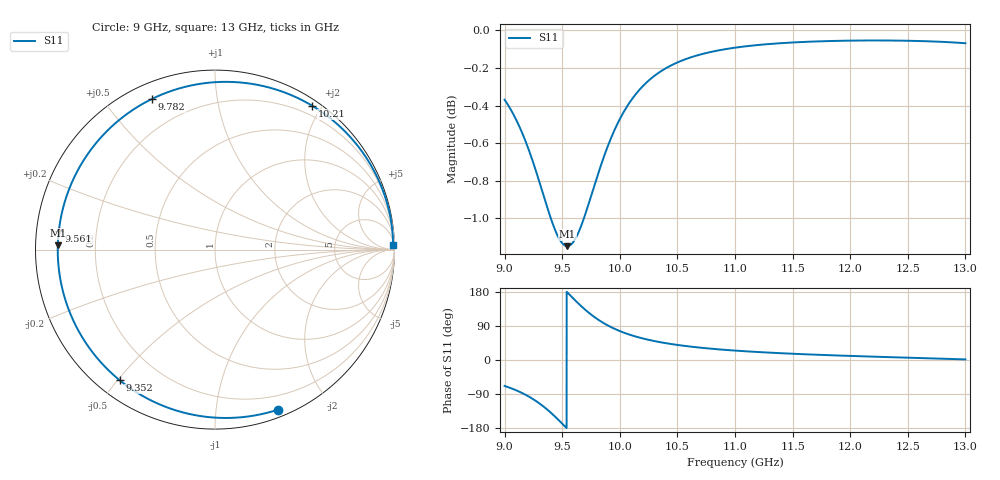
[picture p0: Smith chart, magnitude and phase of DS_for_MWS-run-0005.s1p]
! TOUCHSTONE file generated by CST DESIGN STUDIO
! Date and time: Wed Feb  5 13:38:16 2025
! Project name: C:\Work\MatlabApps\UnitCellOptimizationMatlab\CST\unitcell.cst
! Tree item: Tasks\Sweep1\SPara1\S-Parameters
! Header version: 2024
! Port assignment regex: !\s*Touchstone port\s*([0-9]+)\s*=\s*(CST MWS port|CST DES external port|CST DES block port)\s*(.+)\s* \(\"(.*)\"\)(\s*mode\s*([0-9]+))?.*
! Touchstone port assignment:
! Touchstone port 1 = CST DES external port 1 ("")
# GHz S MA R 50
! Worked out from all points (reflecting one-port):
!   4001 points, 9 GHz to 13 GHz, reference 50 ohm
!   lowest |S11| = -1.1 dB at 9.544 GHz (marker M1), VSWR 15.15, Z = 3.3 + j0.68 ohm
!   phase of S11 starts at -68 deg and turns -290 deg over the sweep
!   S11 on the Smith chart (normalised r, x): 9 GHz: 0.07, -1.47; 9.352 GHz: 0.07, -0.51; 9.561 GHz: 0.07, +0.06; 9.782 GHz: 0.07, +0.66; 10.21 GHz: 0.08, +1.88; 13 GHz: 19, +67
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9  0.9584 -68.5
9.099  0.9469 -79.8
9.208  0.9298 -96.1
9.284  0.915 -110.6
9.352  0.9009 -126.2
9.422  0.8875 -144.8
9.463  0.8814 -156.7
9.5  0.8777 -167.9
9.544  0.8761 178.4
9.561  0.8764 173.1
9.616  0.8803 156.3
9.677  0.8892 138.8
9.729  0.8991 125.2
9.782  0.9099 112.8
9.828  0.9191 103.3
9.878  0.9284 94.2
9.939  0.9385 84.5
10  0.9471 76.3
10.1  0.9582 65.4
10.211  0.9672 56.0
10.344  0.9747 47.4
10.5  0.9806 39.7
10.721  0.9857 31.8
11  0.9895 24.8
11.5  0.9926 16.5
12  0.9938 10.8
12.5  0.9937 6.1
13  0.9922 1.6
